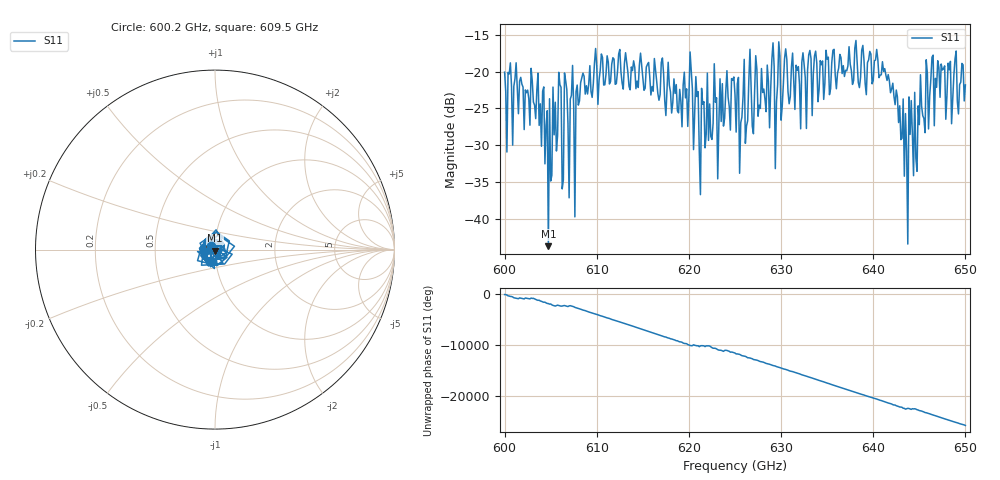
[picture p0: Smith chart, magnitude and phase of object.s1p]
!Created with skrf (http://scikit-rf.org).
# GHz S MA R 50.0
!freq magS11 angS11
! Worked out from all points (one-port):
!   401 points, 600 GHz to 650 GHz, reference 50 ohm
!   lowest |S11| = -43.7 dB at 604.8 GHz (marker M1), VSWR 1.01, Z = 50 - j0.65 ohm
!   |S11| at or under -10 dB: start of sweep to end of sweep
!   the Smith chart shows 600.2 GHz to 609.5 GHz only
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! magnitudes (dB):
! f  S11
! 600 GHz  -20.1
! 603.4 GHz  -26.4
! 604.4 GHz  -32.5
! 604.5 GHz  -27.3
! 604.8 GHz  -43.7
! 605.9 GHz  -20.1
! 606.2 GHz  -36.0
! 607.9 GHz  -21.8
! 608 GHz  -24.5
! 608.5 GHz  -20.2
! 612.5 GHz  -17.0
! 618.8 GHz  -25.3
! 620.1 GHz  -17.3
! 621.1 GHz  -30.9
! 622.4 GHz  -28.8
! 622.8 GHz  -18.9
! 623.2 GHz  -27.1
! 625 GHz  -23.1
! 625.6 GHz  -26.9
! 626.5 GHz  -21.2
! 631.2 GHz  -17.5
! 637.5 GHz  -19.0
! 641.2 GHz  -19.6
! 643.8 GHz  -43.5
! 644.5 GHz  -22.8
! 645.1 GHz  -20.4
! 646.5 GHz  -17.7
! 650 GHz  -21.8
